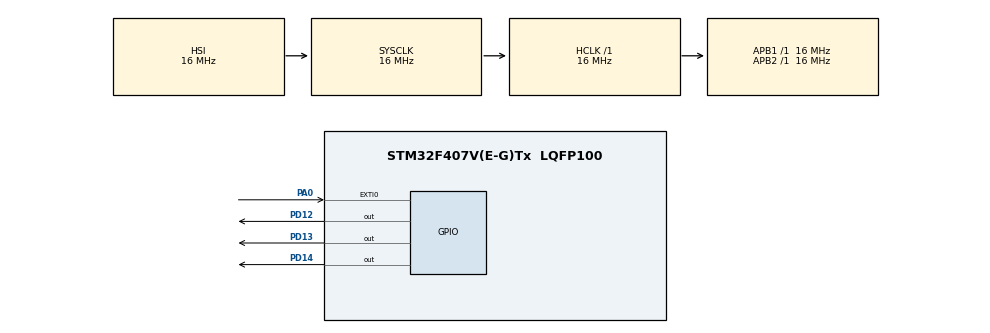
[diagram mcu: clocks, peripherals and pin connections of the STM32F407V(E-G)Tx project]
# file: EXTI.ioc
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Mcu.Family=STM32F4
RCC.CortexFreq_Value=16000000
PA0-WKUP.GPIO_ModeDefaultEXTI=GPIO_MODE_IT_RISING_FALLING
ProjectManager.StackSize=0x400
PA0-WKUP.Signal=GPXTI0
PD13.Signal=GPIO_Output
ProjectManager.TargetToolchain=MDK-ARM V5
RCC.LSE_VALUE=32768
RCC.AHBFreq_Value=16000000
RCC.HSE_VALUE=25000000
board=custom
RCC.VCOOutputFreq_Value=192000000
RCC.APB2Freq_Value=16000000
Mcu.Name=STM32F407V(E-G)Tx
PD14.Signal=GPIO_Output
NVIC.EXTI0_IRQn=true\:0\:0\:false\:false\:true\:true\:true
RCC.SYSCLKFreq_VALUE=16000000
Mcu.Package=LQFP100
PD12.Signal=GPIO_Output
ProjectManager.HeapSize=0x200
RCC.HSI_VALUE=16000000
NVIC.PriorityGroup=NVIC_PRIORITYGROUP_4
RCC.APB1Freq_Value=16000000

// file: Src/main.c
/* USER CODE BEGIN Header */
/**
  ******************************************************************************
  * @file           : main.c
  * @brief          : Main program body
  ******************************************************************************
  * @attention
  *
  * <h2><center>&copy; Copyright (c) 2020 STMicroelectronics.
  * All rights reserved.</center></h2>
  *
  * This software component is licensed by ST under BSD 3-Clause license,
  * the "License"; You may not use this file except in compliance with the
  * License. You may obtain a copy of the License at:
  *                        opensource.org/licenses/BSD-3-Clause
  *
  ******************************************************************************
  */
/* USER CODE END Header */

#include "main.h"

/* USER CODE BEGIN PD */
uint8_t sayac1=0;

/* USER CODE END PD */

void SystemClock_Config(void);
static void MX_GPIO_Init(void);

int main(void)
{

  /* MCU Configuration--------------------------------------------------------*/

  /* Reset of all peripherals, Initializes the Flash interface and the Systick. */
  HAL_Init();

  /* Configure the system clock */
  SystemClock_Config();

  /* Initialize all configured peripherals */
  MX_GPIO_Init();

  /* Infinite loop */
  /* USER CODE BEGIN WHILE */
  while (1)
  {
		if(HAL_GPIO_ReadPin(GPIOA, GPIO_PIN_0)){
		if(sayac1==0){
			HAL_GPIO_WritePin(GPIOD, GPIO_PIN_12 , GPIO_PIN_SET);
			HAL_GPIO_WritePin(GPIOD, GPIO_PIN_13| GPIO_PIN_14  , GPIO_PIN_RESET);
			HAL_Delay(500);
			sayac1=1;
			if(sayac1==1){
				HAL_GPIO_WritePin(GPIOD, GPIO_PIN_13 , GPIO_PIN_SET);
				HAL_GPIO_WritePin(GPIOD, GPIO_PIN_12| GPIO_PIN_14  , GPIO_PIN_RESET);
				HAL_Delay(500);
				sayac1=2;
				if(sayac1==2){
				HAL_GPIO_WritePin(GPIOD, GPIO_PIN_14 , GPIO_PIN_SET);
				HAL_GPIO_WritePin(GPIOD, GPIO_PIN_12| GPIO_PIN_13 , GPIO_PIN_RESET);
				HAL_Delay(500);
				sayac1=3;
					if(sayac1==3){
						HAL_GPIO_WritePin(GPIOD, GPIO_PIN_12| GPIO_PIN_13| GPIO_PIN_14 , GPIO_PIN_RESET);

			}	}
  }
}
}

    /* USER CODE END WHILE */

  }
}

void SystemClock_Config(void)
{
  RCC_OscInitTypeDef RCC_OscInitStruct = {0};
  RCC_ClkInitTypeDef RCC_ClkInitStruct = {0};

  /** Configure the main internal regulator output voltage
  */
  __HAL_RCC_PWR_CLK_ENABLE();
  __HAL_PWR_VOLTAGESCALING_CONFIG(PWR_REGULATOR_VOLTAGE_SCALE1);
  /** Initializes the CPU, AHB and APB busses clocks
  */
  RCC_OscInitStruct.OscillatorType = RCC_OSCILLATORTYPE_HSI;
  RCC_OscInitStruct.HSIState = RCC_HSI_ON;
  RCC_OscInitStruct.HSICalibrationValue = RCC_HSICALIBRATION_DEFAULT;
  RCC_OscInitStruct.PLL.PLLState = RCC_PLL_NONE;
  if (HAL_RCC_OscConfig(&RCC_OscInitStruct) != HAL_OK)
  {
    Error_Handler();
  }
  /** Initializes the CPU, AHB and APB busses clocks
  */
  RCC_ClkInitStruct.ClockType = RCC_CLOCKTYPE_HCLK|RCC_CLOCKTYPE_SYSCLK
                              |RCC_CLOCKTYPE_PCLK1|RCC_CLOCKTYPE_PCLK2;
  RCC_ClkInitStruct.SYSCLKSource = RCC_SYSCLKSOURCE_HSI;
  RCC_ClkInitStruct.AHBCLKDivider = RCC_SYSCLK_DIV1;
  RCC_ClkInitStruct.APB1CLKDivider = RCC_HCLK_DIV1;
  RCC_ClkInitStruct.APB2CLKDivider = RCC_HCLK_DIV1;

  if (HAL_RCC_ClockConfig(&RCC_ClkInitStruct, FLASH_LATENCY_0) != HAL_OK)
  {
    Error_Handler();
  }
}

static void MX_GPIO_Init(void)
{
  GPIO_InitTypeDef GPIO_InitStruct = {0};

  /* GPIO Ports Clock Enable */
  __HAL_RCC_GPIOA_CLK_ENABLE();
  __HAL_RCC_GPIOD_CLK_ENABLE();

  /*Configure GPIO pin Output Level */
  HAL_GPIO_WritePin(GPIOD, GPIO_PIN_12|GPIO_PIN_13|GPIO_PIN_14, GPIO_PIN_RESET);

  /*Configure GPIO pin : PA0 */
  GPIO_InitStruct.Pin = GPIO_PIN_0;
  GPIO_InitStruct.Mode = GPIO_MODE_IT_RISING_FALLING;
  GPIO_InitStruct.Pull = GPIO_NOPULL;
  HAL_GPIO_Init(GPIOA, &GPIO_InitStruct);

  /*Configure GPIO pins : PD12 PD13 PD14 */
  GPIO_InitStruct.Pin = GPIO_PIN_12|GPIO_PIN_13|GPIO_PIN_14;
  GPIO_InitStruct.Mode = GPIO_MODE_OUTPUT_PP;
  GPIO_InitStruct.Pull = GPIO_NOPULL;
  GPIO_InitStruct.Speed = GPIO_SPEED_FREQ_LOW;
  HAL_GPIO_Init(GPIOD, &GPIO_InitStruct);

  /* EXTI interrupt init*/
  HAL_NVIC_SetPriority(EXTI0_IRQn, 0, 0);
  HAL_NVIC_EnableIRQ(EXTI0_IRQn);

}

void Error_Handler(void)
{
}

/************************ (C) COPYRIGHT STMicroelectronics *****END OF FILE****/
